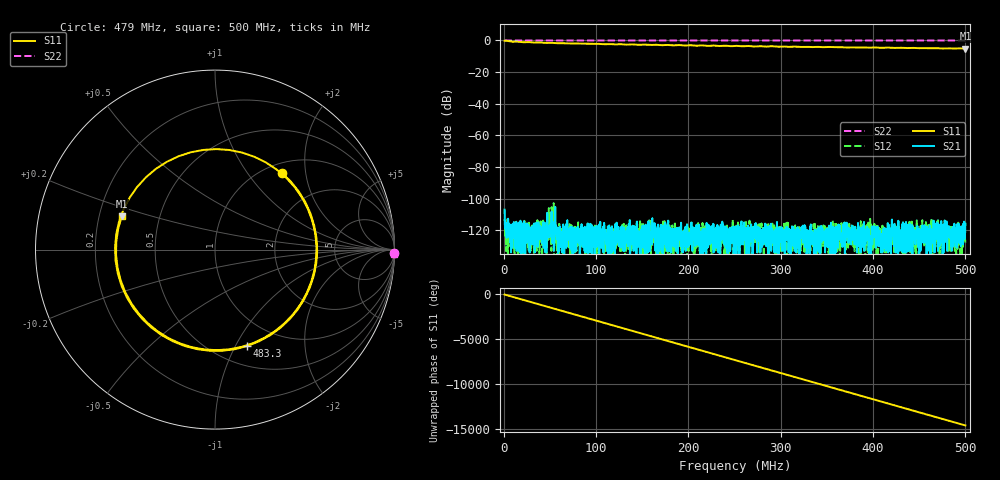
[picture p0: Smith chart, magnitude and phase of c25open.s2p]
! MS46122B
! 1746301/73750021
! 11/3/2023 2:29:42 PM
! C:\USERS\SPEGWAL\DOWNLOADS\SAURABH\REACH\NODES\FRONT END\MEASUREMENTS\MEASURED S-PARAMETERS_03-11-2023\MS3-MS4_MS1_CABLE\OPEN_SOURCE_S11.S2P
! CHANNEL.1
! TR.MEASUREMENT
! CORRECTED.DATA
# GHZ S RI R 50.0
! FREQ.GHZ  S11RE  S11IM  S21RE  S21IM  S12RE  S12IM  S22RE  S22IM
!; PortSelection: Port_12
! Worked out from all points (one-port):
!   2001 points, 1 MHz to 500 MHz, reference 50 ohm
!   lowest |S11| = -5.2 dB at 500 MHz (marker M1), VSWR 3.46, Z = 14.8 + j7.88 ohm
!   |S11| at or under -10 dB: nowhere
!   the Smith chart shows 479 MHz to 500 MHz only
!   S11 on the Smith chart (normalised r, x): 479 MHz: 1.17, +1.48; 483.3 MHz: 0.71, -1.12; 500 MHz: 0.30, +0.16
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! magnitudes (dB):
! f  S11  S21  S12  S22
! 1 MHz  -0.2  -106.9  -112.8  0.0
! 8.735 MHz  -0.8  -123.9  -123.9  0.0
! 14.97 MHz  -0.7  -117.3  -117.6  0.0
! 21.21 MHz  -1.1  -123.0  -123.5  0.0
! 84.33 MHz  -2.0  -116.1  -128.0  0.0
! 167.4 MHz  -2.8  -116.3  -121.9  0.0
! 183.9 MHz  -3.1  -119.5  -  0.0
! 190.1 MHz  -2.9  -118.0  -128.9  0.0
! 196.4 MHz  -3.2  -124.4  -119.0  0.0
! 202.3 MHz  -3.0  -121.0  -128.9  0.0
! 208.6 MHz  -3.3  -122.8  -131.0  0.0
! 214.8 MHz  -3.1  -120.7  -128.0  0.0
! 221.1 MHz  -3.4  -120.7  -124.9  0.0
! 227 MHz  -3.2  -115.9  -130.0  0.0
! 233.5 MHz  -3.5  -121.9  -128.9  0.0
! 250.5 MHz  -3.4  -121.4  -122.1  0.0
! 283.7 MHz  -3.9  -128.9  -121.9  0.0
! 333.8 MHz  -4.2  -120.7  -120.9  0.0
! 416.9 MHz  -4.5  -116.5  -119.8  0.0
! 479 MHz  -4.9  -118.7  -117.7  0.0
! 483.3 MHz  -4.9  -124.3  -118.6  0.0
! 500 MHz  -5.2  -115.8  -127.7  0.0
